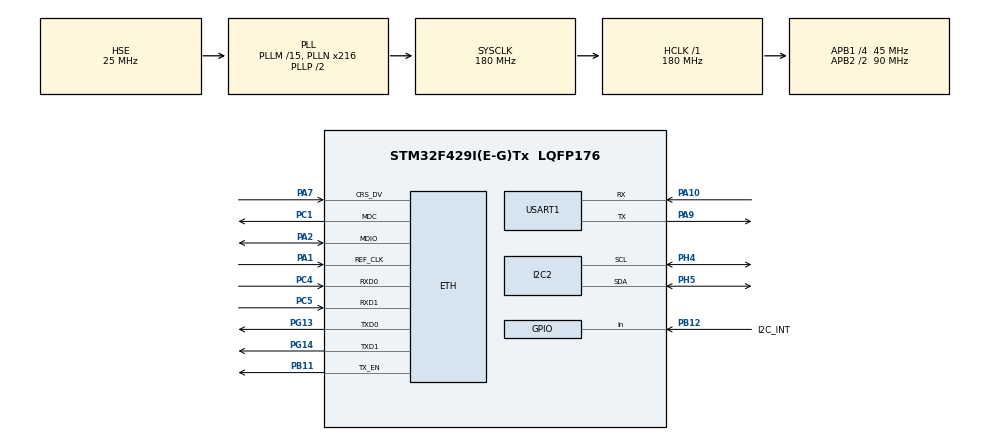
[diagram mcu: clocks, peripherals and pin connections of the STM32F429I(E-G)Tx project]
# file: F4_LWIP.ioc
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ETH.MediaInterface=HAL_ETH_RMII_MODE
LWIP.BSP.number=1
LWIP.GATEWAY_ADDRESS=192.168.001.000
LWIP.IP_ADDRESS=192.168.001.240
LWIP.LWIP_DHCP=0
LWIP.LWIP_DNS=1
LWIP.LWIP_NETIF_LOOPBACK=1
LWIP.LWIP_NETIF_STATUS_CALLBACK=1
LWIP.NETMASK_ADDRESS=255.255.000.000
LWIP.Version=v2.1.2_Cube
LWIP0.BSP.STBoard=false
LWIP0.BSP.api=BSP_COMPONENT_DRIVER
LWIP0.BSP.component=LAN8742
LWIP0.BSP.instance=LAN8742
LWIP0.BSP.name=Driver_PHY
LWIP0.BSP.semaphore=S_LAN8742
LWIP0.BSP.solution=LAN8742
Mcu.Family=STM32F4
Mcu.Name=STM32F429I(E-G)Tx
Mcu.Package=LQFP176
NVIC.ETH_WKUP_IRQn=true\:0\:0\:false\:false\:true\:true\:true\:true
NVIC.PriorityGroup=NVIC_PRIORITYGROUP_4
NVIC.TIM6_DAC_IRQn=true\:15\:0\:false\:false\:true\:false\:true\:true
NVIC.TimeBase=TIM6_DAC_IRQn
NVIC.TimeBaseIP=TIM6
PA1.Mode=RMII
PA1.Signal=ETH_REF_CLK
PA10.Mode=Asynchronous
PA10.Signal=USART1_RX
PA2.Mode=RMII
PA2.Signal=ETH_MDIO
PA7.Mode=RMII
PA7.Signal=ETH_CRS_DV
PA9.Mode=Asynchronous
PA9.Signal=USART1_TX
PB11.Mode=RMII
PB11.Signal=ETH_TX_EN
PB12.GPIO_Label=I2C_INT
PB12.Signal=GPIO_Input
PC1.Mode=RMII
PC1.Signal=ETH_MDC
PC4.Mode=RMII
PC4.Signal=ETH_RXD0
PC5.Mode=RMII
PC5.Signal=ETH_RXD1
PG13.Mode=RMII
PG13.Signal=ETH_TXD0
PG14.Mode=RMII
PG14.Signal=ETH_TXD1
PH0/OSC_IN.Mode=HSE-External-Oscillator
PH0/OSC_IN.Signal=RCC_OSC_IN
PH1/OSC_OUT.Mode=HSE-External-Oscillator
PH1/OSC_OUT.Signal=RCC_OSC_OUT
PH4.Mode=I2C
PH4.Signal=I2C2_SCL
PH5.Mode=I2C
PH5.Signal=I2C2_SDA
ProjectManager.HeapSize=0x1000
ProjectManager.StackSize=0x1000
ProjectManager.TargetToolchain=STM32CubeIDE
RCC.48MHZClocksFreq_Value=90000000
RCC.AHBFreq_Value=180000000
RCC.APB1CLKDivider=RCC_HCLK_DIV4
RCC.APB1Freq_Value=45000000
RCC.APB1TimFreq_Value=90000000
RCC.APB2CLKDivider=RCC_HCLK_DIV2
RCC.APB2Freq_Value=90000000
RCC.APB2TimFreq_Value=180000000
RCC.CortexFreq_Value=180000000
RCC.HCLKFreq_Value=180000000
RCC.HSE_VALUE=25000000
RCC.HSI_VALUE=16000000
RCC.LSE_VALUE=32768
RCC.PLLM=15
RCC.PLLN=216
RCC.PLLSourceVirtual=RCC_PLLSOURCE_HSE
RCC.SYSCLKFreq_VALUE=180000000
RCC.SYSCLKSource=RCC_SYSCLKSOURCE_PLLCLK
RCC.VCOOutputFreq_Value=360000000
USART1.VirtualMode=VM_ASYNC
VP_LWIP_VS_Enabled.Mode=Enabled
VP_SYS_VS_tim6.Mode=TIM6
board=custom

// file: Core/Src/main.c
/* USER CODE BEGIN Header */
/**
  ******************************************************************************
  * @file           : main.c
  * @brief          : Main program body
  ******************************************************************************
  * @attention
  *
  * Copyright (c) 2024 STMicroelectronics.
  * All rights reserved.
  *
  * This software is licensed under terms that can be found in the LICENSE file
  * in the root directory of this software component.
  * If no LICENSE file comes with this software, it is provided AS-IS.
  *
  ******************************************************************************
  */
/* USER CODE END Header */
#include "main.h"
#include "i2c.h"
#include "lwip.h"
#include "usart.h"
#include "gpio.h"

/* USER CODE BEGIN Includes */
#include "PCF8574.h"

/* USER CODE END Includes */

void SystemClock_Config(void);

int main(void)
{

  /* MCU Configuration--------------------------------------------------------*/

  /* Reset of all peripherals, Initializes the Flash interface and the Systick. */
  HAL_Init();

  /* Configure the system clock */
  SystemClock_Config();

  /* USER CODE BEGIN SysInit */
#if 0
  /* USER CODE END SysInit */

  /* Initialize all configured peripherals */
  MX_GPIO_Init();
  MX_LWIP_Init();
  MX_USART1_UART_Init();
  MX_I2C2_Init();
  /* USER CODE BEGIN 2 */
#endif
  MX_GPIO_Init();
  MX_USART1_UART_Init();
  MX_I2C2_Init();

  printf("    _/      _/                                \r\n");
  printf("   _/_/  _/_/    _/_/_/  _/  _/_/    _/_/_/   \r\n");
  printf("  _/  _/  _/  _/    _/  _/_/      _/_/        \r\n");
  printf(" _/      _/  _/    _/  _/            _/_/     \r\n");
  printf("_/      _/    _/_/_/  _/        _/_/_/        \r\n");

  PCF8574_init();
  HAL_Delay(100);
  PCF8574_set_bit(7, 0);
  HAL_Delay(100);
  MX_LWIP_Init();

  /* USER CODE END 2 */

  /* Infinite loop */
  /* USER CODE BEGIN WHILE */
  while (1)
  {
	  MX_LWIP_Process();
    /* USER CODE END WHILE */

  }
}

void SystemClock_Config(void)
{
  RCC_OscInitTypeDef RCC_OscInitStruct = {0};
  RCC_ClkInitTypeDef RCC_ClkInitStruct = {0};

  /** Configure the main internal regulator output voltage
  */
  __HAL_RCC_PWR_CLK_ENABLE();
  __HAL_PWR_VOLTAGESCALING_CONFIG(PWR_REGULATOR_VOLTAGE_SCALE1);

  /** Initializes the RCC Oscillators according to the specified parameters
  * in the RCC_OscInitTypeDef structure.
  */
  RCC_OscInitStruct.OscillatorType = RCC_OSCILLATORTYPE_HSE;
  RCC_OscInitStruct.HSEState = RCC_HSE_ON;
  RCC_OscInitStruct.PLL.PLLState = RCC_PLL_ON;
  RCC_OscInitStruct.PLL.PLLSource = RCC_PLLSOURCE_HSE;
  RCC_OscInitStruct.PLL.PLLM = 15;
  RCC_OscInitStruct.PLL.PLLN = 216;
  RCC_OscInitStruct.PLL.PLLP = RCC_PLLP_DIV2;
  RCC_OscInitStruct.PLL.PLLQ = 4;
  if (HAL_RCC_OscConfig(&RCC_OscInitStruct) != HAL_OK)
  {
    Error_Handler();
  }

  /** Activate the Over-Drive mode
  */
  if (HAL_PWREx_EnableOverDrive() != HAL_OK)
  {
    Error_Handler();
  }

  /** Initializes the CPU, AHB and APB buses clocks
  */
  RCC_ClkInitStruct.ClockType = RCC_CLOCKTYPE_HCLK|RCC_CLOCKTYPE_SYSCLK
                              |RCC_CLOCKTYPE_PCLK1|RCC_CLOCKTYPE_PCLK2;
  RCC_ClkInitStruct.SYSCLKSource = RCC_SYSCLKSOURCE_PLLCLK;
  RCC_ClkInitStruct.AHBCLKDivider = RCC_SYSCLK_DIV1;
  RCC_ClkInitStruct.APB1CLKDivider = RCC_HCLK_DIV4;
  RCC_ClkInitStruct.APB2CLKDivider = RCC_HCLK_DIV2;

  if (HAL_RCC_ClockConfig(&RCC_ClkInitStruct, FLASH_LATENCY_5) != HAL_OK)
  {
    Error_Handler();
  }
}

void HAL_TIM_PeriodElapsedCallback(TIM_HandleTypeDef *htim)
{
  if (htim->Instance == TIM6) {
    HAL_IncTick();
  }
}

void Error_Handler(void)
{
  __disable_irq();
  while (1)
  {
  }
}
